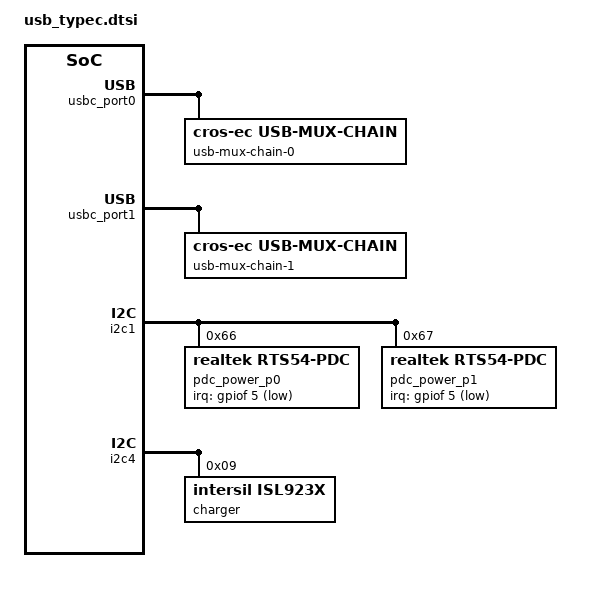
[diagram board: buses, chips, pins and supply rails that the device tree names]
/*
 * Copyright 2023 The ChromiumOS Authors
 *
 * SPDX-License-Identifier: Apache-2.0
 */

#include <usbc-policy.dtsi>

 /{
	usbc {
		#address-cells = <1>;
		#size-cells = <0>;
		usbc_port0: port0@0 {
			compatible = "named-usbc-port";
			reg = <0>;
			chg = <&charger>;
			pdc = <&pdc_power_p0>;
			usb-mux-chain-0 {
				compatible = "cros-ec,usb-mux-chain";
				usb-muxes = <&virtual_mux_0>;
			};
			policy = <&cros_policy>;
		};
		port0-muxes {
			virtual_mux_0: virtual-mux-0 {
				compatible = "cros-ec,usbc-mux-virtual";
			};
		};
		usbc_port1: port0@1 {
			compatible = "named-usbc-port";
			reg = <1>;
			pdc = <&pdc_power_p1>;
			usb-mux-chain-1 {
				compatible = "cros-ec,usb-mux-chain";
				usb-muxes = <&virtual_mux_1>;
			};
			policy = <&cros_policy>;
		};
		port1-muxes {
			virtual_mux_1: virtual-mux-1 {
				compatible = "cros-ec,usbc-mux-virtual";
			};
		};
	};
};

&i2c1 {
	pdc_power_p0: rts54-pdc@66 {
		compatible = "realtek,rts54-pdc";
		reg = <0x66>;
		irq-gpios = <&gpiof 5 GPIO_ACTIVE_LOW>;
	};
	pdc_power_p1: rts54-pdc@67 {
		compatible = "realtek,rts54-pdc";
		reg = <0x67>;
		irq-gpios = <&gpiof 5 GPIO_ACTIVE_LOW>;
	};
};

&i2c4 {
	charger: isl9238@9 {
		compatible = "intersil,isl923x";
		status = "okay";
		reg = <0x9>;
	};
};

